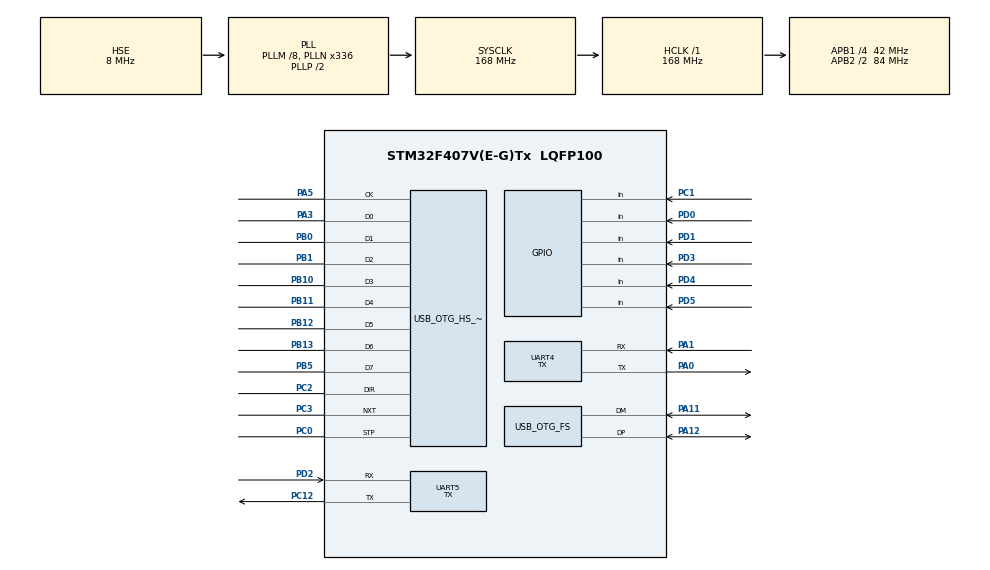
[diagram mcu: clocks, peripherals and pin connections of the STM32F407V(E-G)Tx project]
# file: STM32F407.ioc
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Mcu.Family=STM32F4
Mcu.Name=STM32F407V(E-G)Tx
Mcu.Package=LQFP100
NVIC.OTG_FS_IRQn=true\:0\:0\:false\:false\:true\:false\:true\:true
NVIC.OTG_HS_IRQn=true\:0\:0\:false\:false\:true\:false\:true\:true
NVIC.PriorityGroup=NVIC_PRIORITYGROUP_4
PA0-WKUP.Mode=Asynchronous
PA0-WKUP.Signal=UART4_TX
PA1.Mode=Asynchronous
PA1.Signal=UART4_RX
PA11.Mode=Device_Only
PA11.Signal=USB_OTG_FS_DM
PA12.Mode=Device_Only
PA12.Signal=USB_OTG_FS_DP
PA13.Mode=Serial_Wire
PA13.Signal=SYS_JTMS-SWDIO
PA14.Mode=Serial_Wire
PA14.Signal=SYS_JTCK-SWCLK
PA3.Mode=Device_HS
PA3.Signal=USB_OTG_HS_ULPI_D0
PA5.Mode=Device_HS
PA5.Signal=USB_OTG_HS_ULPI_CK
PB0.Mode=Device_HS
PB0.Signal=USB_OTG_HS_ULPI_D1
PB1.Mode=Device_HS
PB1.Signal=USB_OTG_HS_ULPI_D2
PB10.Mode=Device_HS
PB10.Signal=USB_OTG_HS_ULPI_D3
PB11.Mode=Device_HS
PB11.Signal=USB_OTG_HS_ULPI_D4
PB12.Mode=Device_HS
PB12.Signal=USB_OTG_HS_ULPI_D5
PB13.Mode=Device_HS
PB13.Signal=USB_OTG_HS_ULPI_D6
PB5.Mode=Device_HS
PB5.Signal=USB_OTG_HS_ULPI_D7
PC0.Mode=Device_HS
PC0.Signal=USB_OTG_HS_ULPI_STP
PC1.GPIO_PuPd=GPIO_PULLUP
PC1.Signal=GPIO_Input
PC12.Mode=Asynchronous
PC12.Signal=UART5_TX
PC2.Mode=Device_HS
PC2.Signal=USB_OTG_HS_ULPI_DIR
PC3.Mode=Device_HS
PC3.Signal=USB_OTG_HS_ULPI_NXT
PD0.GPIO_PuPd=GPIO_PULLUP
PD0.Signal=GPIO_Input
PD1.GPIO_PuPd=GPIO_PULLUP
PD1.Signal=GPIO_Input
PD2.Mode=Asynchronous
PD2.Signal=UART5_RX
PD3.GPIO_PuPd=GPIO_PULLUP
PD3.Signal=GPIO_Input
PD4.GPIO_PuPd=GPIO_PULLUP
PD4.Signal=GPIO_Input
PD5.GPIO_PuPd=GPIO_PULLUP
PD5.Signal=GPIO_Input
PH0-OSC_IN.Mode=HSE-External-Oscillator
PH0-OSC_IN.Signal=RCC_OSC_IN
PH1-OSC_OUT.Mode=HSE-External-Oscillator
PH1-OSC_OUT.Signal=RCC_OSC_OUT
ProjectManager.HeapSize=0x200
ProjectManager.StackSize=0x400
ProjectManager.TargetToolchain=STM32CubeIDE
RCC.48MHZClocksFreq_Value=48000000
RCC.AHBFreq_Value=168000000
RCC.APB1CLKDivider=RCC_HCLK_DIV4
RCC.APB1Freq_Value=42000000
RCC.APB1TimFreq_Value=84000000
RCC.APB2CLKDivider=RCC_HCLK_DIV2
RCC.APB2Freq_Value=84000000
RCC.APB2TimFreq_Value=168000000
RCC.CortexFreq_Value=168000000
RCC.HCLKFreq_Value=168000000
RCC.HSE_VALUE=8000000
RCC.HSI_VALUE=16000000
RCC.LSE_VALUE=32768
RCC.PLLM=8
RCC.PLLN=336
RCC.PLLQ=7
RCC.SYSCLKFreq_VALUE=168000000
RCC.SYSCLKSource=RCC_SYSCLKSOURCE_PLLCLK
RCC.VCOOutputFreq_Value=336000000
UART4.Mode=MODE_TX
UART4.VirtualMode=Asynchronous
UART5.Mode=MODE_TX
UART5.VirtualMode=Asynchronous
USB_DEVICE.CLASS_NAME_FS=HID
USB_DEVICE.CLASS_NAME_HS=HID
USB_DEVICE.PID_HID_FS=10000
USB_DEVICE.PID_HID_HS=20000
USB_DEVICE.VirtualMode-HID_FS=Hid
USB_DEVICE.VirtualMode-HID_HS=Hid
USB_DEVICE.VirtualModeFS=Hid_FS
USB_DEVICE.VirtualModeHS=Hid_HS
USB_OTG_FS.VirtualMode=Device_Only
USB_OTG_HS.VirtualMode-Device_HS=Device_HS
VP_USB_DEVICE_VS_USB_DEVICE_HID_FS.Mode=HID_FS
VP_USB_DEVICE_VS_USB_DEVICE_HID_HS.Mode=HID_HS
board=custom

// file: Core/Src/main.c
/* USER CODE BEGIN Header */
/**
  ******************************************************************************
  * @file           : main.c
  * @brief          : Main program body
  ******************************************************************************
  * @attention
  *
  * Copyright (c) 2025 STMicroelectronics.
  * All rights reserved.
  *
  * This software is licensed under terms that can be found in the LICENSE file
  * in the root directory of this software component.
  * If no LICENSE file comes with this software, it is provided AS-IS.
  *
  ******************************************************************************
  */
/* USER CODE END Header */
#include "main.h"
#include "usb_device.h"

/* USER CODE BEGIN Includes */
#include "usbd_hid.h"
#include "main.h"
#include <stdio.h>
#include "stm32f4xx_hal_uart.h"
#include <stdbool.h>
#include <stdlib.h>
#include <string.h>
/* USER CODE END Includes */

/* USER CODE BEGIN PTD */
typedef struct {
  uint8_t MODIFIER;
  uint8_t RESERVED;
  uint8_t Keycode1;
  uint8_t Keycode2;
  uint8_t Keycode3;
  uint8_t Keycode4;
  uint8_t Keycode5;
  uint8_t Keycode6;
} HID_SendKeycode;

HID_SendKeycode keyboardReport = {0};
/* USER CODE END PTD */

/* USER CODE BEGIN PD */

#define KEY_NUMBER 5

#define KC_A 0x04
#define KC_B 0x05
#define KC_C 0x06
#define KC_D 0x07
#define KC_E 0x08
#define KC_F 0x09
#define KC_G 0x10
#define KC_H 0x11
#define KC_I 0x12

// Custom Keycode
#define KC_LCTL 10000
#define KC_LSFT 10001
#define KC_LALT 10002
#define KC_LGUI 10003
#define KC_RCTL 10004
#define KC_RSFT 10005
#define KC_RALT 10006
#define KC_RGUI 10007

#define KC_FN1 20000

#define BIT_LCTL 0b00000001
#define BIT_LSFT 0b00000010
#define BIT_LALT 0b00000100
#define BIT_LGUI 0b00001000
#define BIT_RCTL 0b00010000
#define BIT_RSFT 0b00100000
#define BIT_RALT 0b01000000
#define BIT_RGUI 0b10000000

/* USER CODE END PD */

UART_HandleTypeDef huart4;
UART_HandleTypeDef huart5;

/* USER CODE BEGIN PV */

GPIO_PinState pinState;
GPIO_PinState pinState1;

int Scanrate = 0; // GPIO 읽기 카운트

int Timer = 0;  // 경과 시간 (ms)

int LastTimer = 0;

GPIO_TypeDef* GPIO_ABC[KEY_NUMBER] = { GPIOD, GPIOD, GPIOD, GPIOD, GPIOD };

int GPIO_Num[KEY_NUMBER] = { GPIO_PIN_0, GPIO_PIN_1, GPIO_PIN_3, GPIO_PIN_4, GPIO_PIN_5 };

uint16_t Keycode[][KEY_NUMBER] = {    { KC_LCTL, KC_LSFT, KC_A, KC_B, KC_FN1 },{ KC_D, KC_E, KC_F, KC_G, KC_FN1 }    };

int Modifier_Bit[8] = {BIT_LCTL,BIT_LSFT,BIT_LALT,BIT_LGUI,BIT_RCTL,BIT_RSFT,BIT_RALT,BIT_RGUI};

uint8_t Modifier_Sum = 0b00000000;

int MatrixState[KEY_NUMBER] = { 0 };
int LastMatrixState[KEY_NUMBER] = { 0 };

int LayerState = 0;

int WhichLayer[KEY_NUMBER] = { 0 };

int TempKeycode = 0;

/* USER CODE END PV */

void SystemClock_Config(void);
static void MX_GPIO_Init(void);
static void MX_UART4_Init(void);
static void MX_UART5_Init(void);

/* USER CODE BEGIN 0 */

extern USBD_HandleTypeDef hUsbDeviceHS;

void PinToMatrix( int i ) { //SwitchNumber starts from 0 to KET_NUMBER - 1
   pinState = HAL_GPIO_ReadPin(GPIO_ABC[i], GPIO_Num[i]);
   MatrixState[i] = pinState; // High 1, Low 0
}

void PressKeycodes(int i)
{
    if(Keycode[LayerState][i] >= 10000)
    { //MODIFIER
		Modifier_Sum = Modifier_Sum | Modifier_Bit[Keycode[LayerState][i]-10000];
		keyboardReport.MODIFIER = Modifier_Sum;

        char message1[100];
        sprintf(message1, "ModifierPress \n\r");
        HAL_UART_Transmit(&huart4, (uint8_t*)message1, strlen(message1), HAL_MAX_DELAY);
    }
    else if ( Keycode[LayerState][i] == KC_FN1)
    {
    	LayerState = 1; // Layer1 when pressed
    }
    else
    {
    	TempKeycode = 0;
    	TempKeycode = Keycode[LayerState][i];

        if (keyboardReport.Keycode1 == 0x00)
        {
            keyboardReport.Keycode1 = TempKeycode;
        }
        else if (keyboardReport.Keycode2 == 0x00 && Keycode[LayerState][i] != keyboardReport.Keycode1)
        {
            keyboardReport.Keycode2 = TempKeycode;
        }
        else if (keyboardReport.Keycode3 == 0x00 && Keycode[LayerState][i] != keyboardReport.Keycode2 && Keycode[LayerState][i] != keyboardReport.Keycode1)
        {
            keyboardReport.Keycode3 = TempKeycode;
        }
        else if (keyboardReport.Keycode4 == 0x00 && Keycode[LayerState][i] != keyboardReport.Keycode3 && Keycode[LayerState][i] != keyboardReport.Keycode2 && Keycode[LayerState][i] != keyboardReport.Keycode1)
        {
            keyboardReport.Keycode4 = TempKeycode;
        }
        else if (keyboardReport.Keycode5 == 0x00 && Keycode[LayerState][i] != keyboardReport.Keycode4 && Keycode[LayerState][i] != keyboardReport.Keycode3 && Keycode[LayerState][i] != keyboardReport.Keycode2 && Keycode[LayerState][i] != keyboardReport.Keycode1)
        {
            keyboardReport.Keycode5 = TempKeycode;
        }
        else if (keyboardReport.Keycode6 == 0x00 && Keycode[LayerState][i] != keyboardReport.Keycode5 && Keycode[LayerState][i] != keyboardReport.Keycode4 && Keycode[LayerState][i] != keyboardReport.Keycode3 && Keycode[LayerState][i] != keyboardReport.Keycode2 && Keycode[LayerState][i] != keyboardReport.Keycode1)
        {
            keyboardReport.Keycode6 = TempKeycode;
        }

        WhichLayer[i] = LayerState;

		char message4[100];
		sprintf(message4, "PressKeycodes \n\r");
		HAL_UART_Transmit(&huart4, (uint8_t*)message4, strlen(message4), HAL_MAX_DELAY);
    }
}

void ReleaseKeycodes(int i)
{
    if(Keycode[LayerState][i] >= 10000)
    { //MODIFIER
		Modifier_Sum = Modifier_Sum & ~(Modifier_Bit[Keycode[LayerState][i]-10000]);
		keyboardReport.MODIFIER = Modifier_Sum;

        char message2[100];
        sprintf(message2, "ModifierRelease \n\r");
        HAL_UART_Transmit(&huart4, (uint8_t*)message2, strlen(message2), HAL_MAX_DELAY);
    }
    else if ( Keycode[LayerState][i] == KC_FN1)
    {
    	LayerState = 0; // Layer0 when released
    }
    else
    {
    	TempKeycode = 0;
    	TempKeycode = Keycode[WhichLayer[i]][i];

        if (keyboardReport.Keycode1 == TempKeycode)
        {
            keyboardReport.Keycode1 = 0x00;
        }
        if (keyboardReport.Keycode2 == TempKeycode)
        {
            keyboardReport.Keycode2 = 0x00;
        }
        if (keyboardReport.Keycode3 == TempKeycode)
        {
            keyboardReport.Keycode3 = 0x00;
        }
        if (keyboardReport.Keycode4 == TempKeycode)
        {
            keyboardReport.Keycode4 = 0x00;
        }
        if (keyboardReport.Keycode5 == TempKeycode)
        {
            keyboardReport.Keycode5 = 0x00;
        }
        if (keyboardReport.Keycode6 == TempKeycode)
        {
            keyboardReport.Keycode6 = 0x00;
        }

		char message5[100];
		sprintf(message5, "ReleaseKeycodes \n\r");
		HAL_UART_Transmit(&huart4, (uint8_t*)message5, strlen(message5), HAL_MAX_DELAY);
    }
}

/* USER CODE END 0 */

int main(void)
{
  /* MCU Configuration--------------------------------------------------------*/
  /* Reset of all peripherals, Initializes the Flash interface and the Systick. */
  HAL_Init();
  /* Configure the system clock */
  SystemClock_Config();
  /* Initialize all configured peripherals */
  MX_GPIO_Init();
  MX_USB_DEVICE_Init();
  MX_UART4_Init();
  MX_UART5_Init();
  /* Infinite loop */
  /* USER CODE BEGIN WHILE */
  while (1)
  {

//ㅡㅡㅡㅡㅡㅡㅡㅡㅡㅡㅡㅡㅡㅡㅡㅡㅡㅡㅡㅡㅡㅡㅡㅡㅡㅡㅡㅡㅡㅡㅡㅡㅡㅡㅡㅡㅡㅡㅡㅡㅡㅡㅡㅡㅡㅡㅡㅡㅡㅡㅡㅡㅡㅡㅡㅡㅡㅡㅡㅡㅡㅡㅡㅡㅡㅡㅡㅡㅡㅡㅡㅡㅡㅡㅡㅡㅡㅡㅡㅡㅡㅡㅡㅡㅡㅡㅡㅡㅡㅡ

//Scanrate Check

   Timer = HAL_GetTick();

   if ( Timer - LastTimer >= 1000)
   {
      char message[100];
      sprintf(message, "Time(ms) = %d |  Scanrate(Hz) = %d \n\r",Timer,Scanrate);
      HAL_UART_Transmit(&huart4, (uint8_t*)message, strlen(message), HAL_MAX_DELAY);

      //Time = XXX, Scanrate = XXX

      LastTimer = Timer;
      Scanrate = 0;
   }

   Scanrate = Scanrate + 1;

//ㅡㅡㅡㅡㅡㅡㅡㅡㅡㅡㅡㅡㅡㅡㅡㅡㅡㅡㅡㅡㅡㅡㅡㅡㅡㅡㅡㅡㅡㅡㅡㅡㅡㅡㅡㅡㅡㅡㅡㅡㅡㅡㅡㅡㅡㅡㅡㅡㅡㅡㅡㅡㅡㅡㅡㅡㅡㅡㅡㅡㅡㅡㅡㅡㅡㅡㅡㅡㅡㅡㅡㅡㅡㅡㅡㅡㅡㅡㅡㅡㅡㅡㅡㅡㅡㅡㅡㅡㅡㅡ

   memcpy(LastMatrixState, MatrixState, sizeof(MatrixState));
   for (int i=0; i<KEY_NUMBER; ++i)
   {
     PinToMatrix(i);
   }

   if ( memcmp(LastMatrixState, MatrixState, sizeof(MatrixState)) != 0)
   {

       char message3[100];
       sprintf(message3, "%d \n\r", memcmp(LastMatrixState, MatrixState, sizeof(MatrixState)));
       HAL_UART_Transmit(&huart4, (uint8_t*)message3, strlen(message3), HAL_MAX_DELAY);

	   for (int i=0; i<KEY_NUMBER; ++i)
	   {
		   if (LastMatrixState[i] != MatrixState[i])
		   {
			   if ( MatrixState[i] == 0 )
			   {
				  PressKeycodes(i);
			   }
			   else
			   {
				  ReleaseKeycodes(i);
			   }
		   }
	   }

      USBD_HID_SendReport(&hUsbDeviceHS, (uint8_t *)&keyboardReport, sizeof(keyboardReport));

   }

//ㅡㅡㅡㅡㅡㅡㅡㅡㅡㅡㅡㅡㅡㅡㅡㅡㅡㅡㅡㅡㅡㅡㅡㅡㅡㅡㅡㅡㅡㅡㅡㅡㅡㅡㅡㅡㅡㅡㅡㅡㅡㅡㅡㅡㅡㅡㅡㅡㅡㅡㅡㅡㅡㅡㅡㅡㅡㅡㅡㅡㅡㅡㅡㅡㅡㅡㅡㅡㅡㅡㅡㅡㅡㅡㅡㅡㅡㅡㅡㅡㅡㅡㅡㅡㅡㅡㅡㅡㅡㅡ

  }

    /* USER CODE END WHILE */

}

void SystemClock_Config(void)
{
  RCC_OscInitTypeDef RCC_OscInitStruct = {0};
  RCC_ClkInitTypeDef RCC_ClkInitStruct = {0};

  /** Configure the main internal regulator output voltage
  */
  __HAL_RCC_PWR_CLK_ENABLE();
  __HAL_PWR_VOLTAGESCALING_CONFIG(PWR_REGULATOR_VOLTAGE_SCALE1);

  /** Initializes the RCC Oscillators according to the specified parameters
  * in the RCC_OscInitTypeDef structure.
  */
  RCC_OscInitStruct.OscillatorType = RCC_OSCILLATORTYPE_HSE;
  RCC_OscInitStruct.HSEState = RCC_HSE_ON;
  RCC_OscInitStruct.PLL.PLLState = RCC_PLL_ON;
  RCC_OscInitStruct.PLL.PLLSource = RCC_PLLSOURCE_HSE;
  RCC_OscInitStruct.PLL.PLLM = 8;
  RCC_OscInitStruct.PLL.PLLN = 336;
  RCC_OscInitStruct.PLL.PLLP = RCC_PLLP_DIV2;
  RCC_OscInitStruct.PLL.PLLQ = 7;
  if (HAL_RCC_OscConfig(&RCC_OscInitStruct) != HAL_OK)
  {
    Error_Handler();
  }

  /** Initializes the CPU, AHB and APB buses clocks
  */
  RCC_ClkInitStruct.ClockType = RCC_CLOCKTYPE_HCLK|RCC_CLOCKTYPE_SYSCLK
                              |RCC_CLOCKTYPE_PCLK1|RCC_CLOCKTYPE_PCLK2;
  RCC_ClkInitStruct.SYSCLKSource = RCC_SYSCLKSOURCE_PLLCLK;
  RCC_ClkInitStruct.AHBCLKDivider = RCC_SYSCLK_DIV1;
  RCC_ClkInitStruct.APB1CLKDivider = RCC_HCLK_DIV4;
  RCC_ClkInitStruct.APB2CLKDivider = RCC_HCLK_DIV2;

  if (HAL_RCC_ClockConfig(&RCC_ClkInitStruct, FLASH_LATENCY_5) != HAL_OK)
  {
    Error_Handler();
  }
}

static void MX_UART4_Init(void)
{

  huart4.Instance = UART4;
  huart4.Init.BaudRate = 115200;
  huart4.Init.WordLength = UART_WORDLENGTH_8B;
  huart4.Init.StopBits = UART_STOPBITS_1;
  huart4.Init.Parity = UART_PARITY_NONE;
  huart4.Init.Mode = UART_MODE_TX;
  huart4.Init.HwFlowCtl = UART_HWCONTROL_NONE;
  huart4.Init.OverSampling = UART_OVERSAMPLING_16;
  if (HAL_UART_Init(&huart4) != HAL_OK)
  {
    Error_Handler();
  }

}

static void MX_UART5_Init(void)
{

  huart5.Instance = UART5;
  huart5.Init.BaudRate = 115200;
  huart5.Init.WordLength = UART_WORDLENGTH_8B;
  huart5.Init.StopBits = UART_STOPBITS_1;
  huart5.Init.Parity = UART_PARITY_NONE;
  huart5.Init.Mode = UART_MODE_TX;
  huart5.Init.HwFlowCtl = UART_HWCONTROL_NONE;
  huart5.Init.OverSampling = UART_OVERSAMPLING_16;
  if (HAL_UART_Init(&huart5) != HAL_OK)
  {
    Error_Handler();
  }

}

static void MX_GPIO_Init(void)
{
  GPIO_InitTypeDef GPIO_InitStruct = {0};

  /* GPIO Ports Clock Enable */
  __HAL_RCC_GPIOH_CLK_ENABLE();
  __HAL_RCC_GPIOC_CLK_ENABLE();
  __HAL_RCC_GPIOA_CLK_ENABLE();
  __HAL_RCC_GPIOB_CLK_ENABLE();
  __HAL_RCC_GPIOD_CLK_ENABLE();

  /*Configure GPIO pin : PC1 */
  GPIO_InitStruct.Pin = GPIO_PIN_1;
  GPIO_InitStruct.Mode = GPIO_MODE_INPUT;
  GPIO_InitStruct.Pull = GPIO_PULLUP;
  HAL_GPIO_Init(GPIOC, &GPIO_InitStruct);

  /*Configure GPIO pins : PD0 PD1 PD3 PD4
                           PD5 */
  GPIO_InitStruct.Pin = GPIO_PIN_0|GPIO_PIN_1|GPIO_PIN_3|GPIO_PIN_4
                          |GPIO_PIN_5;
  GPIO_InitStruct.Mode = GPIO_MODE_INPUT;
  GPIO_InitStruct.Pull = GPIO_PULLUP;
  HAL_GPIO_Init(GPIOD, &GPIO_InitStruct);

}

void Error_Handler(void)
{
  __disable_irq();
  while (1)
  {
  }
}
